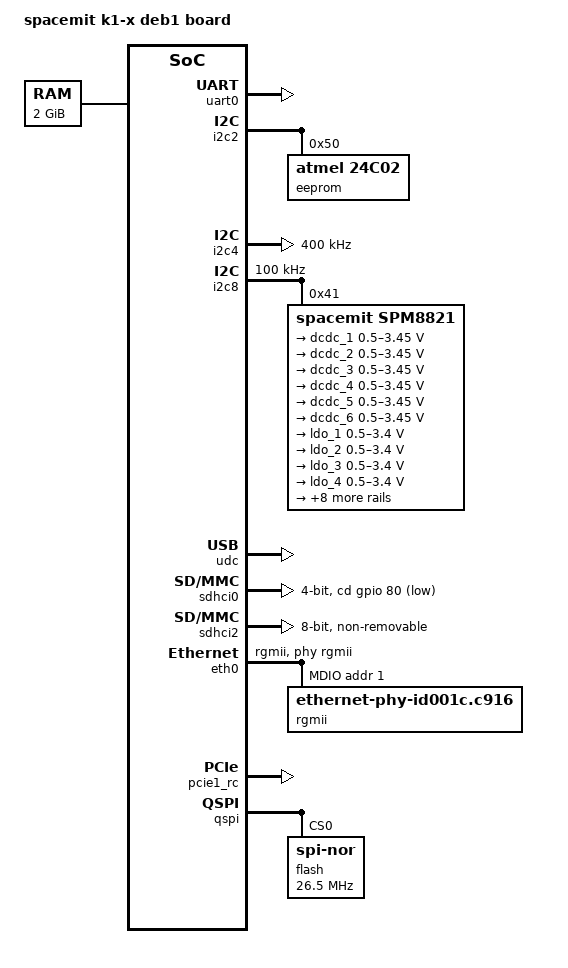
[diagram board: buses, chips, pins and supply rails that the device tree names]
// SPDX-License-Identifier: (GPL-2.0 OR MIT)
/* Copyright (c) 2023 Spacemit, Inc */

/dts-v1/;

#include "k1-x.dtsi"
#include "k1-x_pinctrl.dtsi"

/ {
	model = "spacemit k1-x deb1 board";

	memory@0 {
		device_type = "memory";
		reg = <0x00000000 0x00000000 0x00000000 0x80000000>;
	};

	chosen {
		bootargs = "earlycon=sbi console=ttyS0,115200 debug loglevel=8,initcall_debug=1 rdinit=/init.tmp";
		stdout-path = "serial0:115200n8";
	};
};

&cpu_0 {
	/* boot frequency for cluster-0, should be 1600000, 1228000, 819000, or 614000 */
	boot_freq_cluster0 = <1228000>;
	/* boot frequency for cluster-1, should be 1600000, 1228000, 819000, or 614000 */
	boot_freq_cluster1 = <1228000>;
};

&dramc {
	/* dram data rate, should be 1200, 1600, or 2400 */
	datarate = <2400>;
};

&cpus {
	timebase-frequency = <24000000>;
};

&uart0 {
	status = "okay";
};

&i2c0 {
	status = "disabled";
};

&i2c1 {
	status = "disabled";
};

&i2c2 {
	#address-cells = <1>;
	#size-cells = <0>;
	pinctrl-names = "default";
	pinctrl-0 = <&pinctrl_i2c2_0>;
	status = "okay";

	eeprom@50{
		compatible = "atmel,24c02";
		reg = <0x50>;
		vin-supply-names = "eeprom_1v8";
		status = "okay";
	};
};

&i2c3 {
	status = "disabled";
};

&i2c4 {
	clock-frequency = <400000>;
	status = "okay";
};

&i2c5 {
	status = "disabled";
};

&i2c6 {
	status = "disabled";
};

&i2c7 {
	status = "disabled";
};

&i2c8 {
	clock-frequency = <100000>;
	status = "okay";

	spm8821: pmic@41 {
		compatible = "spacemit,spm8821";
		reg = <0x41>;
		bus = <8>;

		regulators {
			dcdc_1: DCDC_REG1 {
				regulator-name = "dcdc1";
				regulator-min-microvolt = <500000>;
				regulator-max-microvolt = <3450000>;
				regulator-init-microvolt = <950000>;
				regulator-boot-on;
				regulator-state-mem {
					regulator-off-in-suspend;
				};
			};

			dcdc_2: DCDC_REG2 {
				regulator-name = "dcdc2";
				regulator-min-microvolt = <500000>;
				regulator-max-microvolt = <3450000>;
			};

			dcdc_3: DCDC_REG3 {
				regulator-name = "dcdc3";
				regulator-min-microvolt = <500000>;
				regulator-max-microvolt = <3450000>;
			};

			dcdc_4: DCDC_REG4 {
				regulator-name = "dcdc4";
				regulator-min-microvolt = <500000>;
				regulator-max-microvolt = <3450000>;
			};

			dcdc_5: DCDC_REG5 {
				regulator-name = "dcdc5";
				regulator-min-microvolt = <500000>;
				regulator-max-microvolt = <3450000>;
			};

			dcdc_6: DCDC_REG6 {
				regulator-name = "dcdc6";
				regulator-min-microvolt = <500000>;
				regulator-max-microvolt = <3450000>;
			};

			ldo_1: LDO_REG1 {
				regulator-name = "ldo1";
				regulator-min-microvolt = <500000>;
				regulator-max-microvolt = <3400000>;
			};

			ldo_2: LDO_REG2 {
				regulator-name = "ldo2";
				regulator-min-microvolt = <500000>;
				regulator-max-microvolt = <3400000>;
			};

			ldo_3: LDO_REG3 {
				regulator-name = "ldo3";
				regulator-min-microvolt = <500000>;
				regulator-max-microvolt = <3400000>;
			};

			ldo_4: LDO_REG4 {
				regulator-name = "ldo4";
				regulator-min-microvolt = <500000>;
				regulator-max-microvolt = <3400000>;
			};

			ldo_5: LDO_REG5 {
				regulator-name = "ldo5";
				regulator-min-microvolt = <500000>;
				regulator-max-microvolt = <3400000>;
			};

			ldo_6: LDO_REG6 {
				regulator-name = "ldo6";
				regulator-min-microvolt = <500000>;
				regulator-max-microvolt = <3400000>;
			};

			ldo_7: LDO_REG7 {
				regulator-name = "ldo7";
				regulator-min-microvolt = <500000>;
				regulator-max-microvolt = <3400000>;
			};

			ldo_8: LDO_REG8 {
				regulator-name = "ldo8";
				regulator-min-microvolt = <500000>;
				regulator-max-microvolt = <3400000>;
			};

			ldo_9: LDO_REG9 {
				regulator-name = "ldo9";
				regulator-min-microvolt = <500000>;
				regulator-max-microvolt = <3400000>;
			};

			ldo_10: LDO_REG10 {
				regulator-name = "ldo10";
				regulator-min-microvolt = <500000>;
				regulator-max-microvolt = <3400000>;
			};

			ldo_11: LDO_REG11 {
				regulator-name = "ldo11";
				regulator-min-microvolt = <500000>;
				regulator-max-microvolt = <3400000>;
			};

			sw_1: SWITCH_REG1 {
				regulator-name = "switch1";
			};
		};
	};
};

&pinctrl {
	pinctrl-single,gpio-range = <
		&range GPIO_49  2 (MUX_MODE0 | EDGE_NONE | PULL_UP   | PAD_3V_DS4)
		&range GPIO_58  1 (MUX_MODE0 | EDGE_NONE | PULL_DOWN | PAD_1V8_DS2)
		&range GPIO_63  2 (MUX_MODE0 | EDGE_NONE | PULL_DOWN | PAD_1V8_DS2)
		&range GPIO_65  1 (MUX_MODE0 | EDGE_NONE | PULL_UP   | PAD_1V8_DS2)
		&range GPIO_66  2 (MUX_MODE0 | EDGE_NONE | PULL_DOWN | PAD_1V8_DS2)
		&range PRI_TDI  2 (MUX_MODE1 | EDGE_NONE | PULL_UP   | PAD_1V8_DS2)
		&range PRI_TCK  1 (MUX_MODE1 | EDGE_NONE | PULL_DOWN | PAD_1V8_DS2)
		&range PRI_TDO  1 (MUX_MODE1 | EDGE_NONE | PULL_UP   | PAD_1V8_DS2)
		&range GPIO_74  1 (MUX_MODE0 | EDGE_NONE | PULL_UP   | PAD_1V8_DS2)
		&range GPIO_80  1 (MUX_MODE0 | EDGE_NONE | PULL_UP   | PAD_3V_DS4)
		&range GPIO_81  3 (MUX_MODE0 | EDGE_NONE | PULL_UP   | PAD_1V8_DS2)
		&range GPIO_90  1 (MUX_MODE0 | EDGE_NONE | PULL_DOWN | PAD_1V8_DS2)
		&range GPIO_91  2 (MUX_MODE0 | EDGE_NONE | PULL_UP   | PAD_1V8_DS2)
		&range DVL0     2 (MUX_MODE1 | EDGE_NONE | PULL_DOWN | PAD_1V8_DS2)
		&range GPIO_110 1 (MUX_MODE0 | EDGE_NONE | PULL_DOWN | PAD_1V8_DS2)
		&range GPIO_114 1 (MUX_MODE0 | EDGE_NONE | PULL_DOWN | PAD_1V8_DS2)
		&range GPIO_115 2 (MUX_MODE0 | EDGE_NONE | PULL_DOWN | PAD_1V8_DS2)
		&range GPIO_123 1 (MUX_MODE0 | EDGE_NONE | PULL_DOWN | PAD_1V8_DS2)
		&range GPIO_124 1 (MUX_MODE0 | EDGE_NONE | PULL_UP   | PAD_1V8_DS2)
		&range GPIO_125 3 (MUX_MODE0 | EDGE_NONE | PULL_DOWN | PAD_1V8_DS2)
	>;

	usbp1_vbus: usbp1_vbus {
		pinctrl-single,pins =<
			K1X_PADCONF(GPIO_66, MUX_MODE0, (EDGE_NONE | PULL_UP | PAD_1V8_DS2))    /* drive_vbus1_iso */
		>;
	};

	gpio80_pmx_func0: gpio80_pmx_func0 {
		pinctrl-single,pins = <
			K1X_PADCONF(GPIO_80, MUX_MODE0, (EDGE_BOTH | PULL_UP | PAD_3V_DS4))  /* mmc cd */
		>;
	};
};

&gpio{
	gpio-ranges = <
		&pinctrl 49 GPIO_49 2
		&pinctrl 58 GPIO_58 1
		&pinctrl 63 GPIO_63 5
		&pinctrl 70 PRI_TDI 4
		&pinctrl 74 GPIO_74 1
		&pinctrl 80 GPIO_80 4
		&pinctrl 90 GPIO_90 3
		&pinctrl 96 DVL0 2
		&pinctrl 110 GPIO_110 1
		&pinctrl 114 GPIO_114 3
		&pinctrl 123 GPIO_123 5
	>;
};

&udc {
	status = "okay";
};

&usb2phy {
	status = "disabled";
};

&combphy {
	status = "disabled";
};

&usb3hub {
	usb-gpios = <&gpio 97 0>;	/* gpio_97 for usb3 pwren */
	hub-gpios = <&gpio 123 0>;	/* usb3 hub en */
	reset-gpios = <&gpio 124 0>;	/* usb3 hub rst*/
	status = "disabled";
};

&usbdrd3 {
	status = "disabled";
	dwc3@c0a00000 {
		dr_mode = "host";
		phy_type = "utmi";
		snps,hsphy_interface = "utmi";
		snps,dis_enblslpm_quirk;
		snps,dis-u1u2-quirk;
		snps,dis-u2-freeclk-exists-quirk;
		snps,dis-del-phy-power-chg-quirk;
		snps,dis_u2_susphy_quirk;
		snps,dis_u3_susphy_quirk;
		snps,dis_rxdet_inp3_quirk;
		snps,xhci-trb-ent-quirk;
	};
};

&sdhci0 {
	pinctrl-names = "default";
	pinctrl-0 = <&pinctrl_mmc1 &gpio80_pmx_func0>;
	bus-width = <4>;
	cd-gpios = <&gpio 80 0>;
	cd-inverted;
	cap-sd-highspeed;
	sdh-phy-module = <0>;
	status = "okay";
};

/* eMMC */
&sdhci2 {
	bus-width = <8>;
	non-removable;
	mmc-hs400-1_8v;
	mmc-hs400-enhanced-strobe;
	sdh-phy-module = <1>;
	status = "okay";
};

&eth0 {
	status = "okay";
	pinctrl-names = "default";
	pinctrl-0 = <&pinctrl_gmac0>;

	phy-reset-pin = <110>;

	clk_tuning_enable;
	clk-tuning-by-delayline;
	tx-phase = <90>;
	rx-phase = <73>;

	phy-mode = "rgmii";
	phy-addr = <1>;
	phy-handle = <&rgmii>;

	ref-clock-from-phy;

	mdio {
		#address-cells = <0x1>;
		#size-cells = <0x0>;
		rgmii: phy@0 {
			compatible = "ethernet-phy-id001c.c916";
			device_type = "ethernet-phy";
			reg = <0x1>;
		};
	};
};

&pcie0_rc {
	status = "disabled";
};

&pcie1_rc {
	pinctrl-names = "default";
	pinctrl-0 = <&pinctrl_pcie1_3>;
	status = "okay";
};

&qspi {
	status = "okay";
	pinctrl-names = "default";
	pinctrl-0 = <&pinctrl_qspi>;

	flash@0 {
		compatible = "jedec,spi-nor";
		reg = <0>;
		spi-max-frequency = <26500000>;
		m25p,fast-read;
		broken-flash-reset;
		status = "okay";
	};
};
